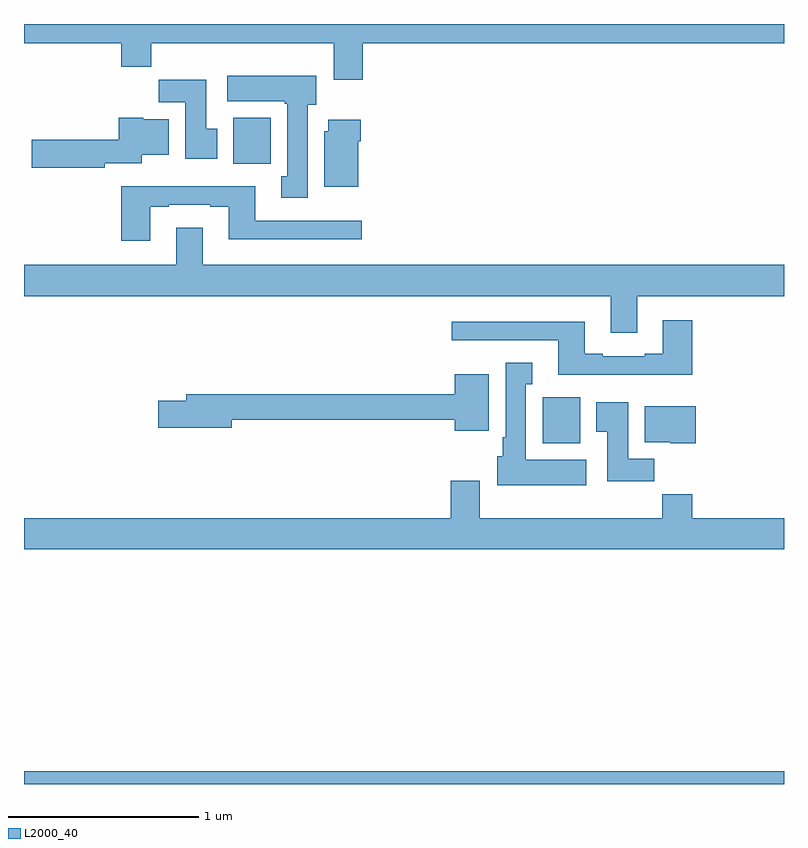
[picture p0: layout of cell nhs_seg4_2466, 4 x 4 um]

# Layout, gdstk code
import gdstk
lib = gdstk.Library(unit=1e-6, precision=1e-09)
def R(c, l, rs):  # rectangles x0, y0, x1, y1
    for r in rs: c.add(gdstk.rectangle(r[:2], r[2:], *l))
def P(c, l, *ps):  # polygons
    for p in ps: c.add(gdstk.Polygon(p, *l))
L2000_40 = (2000, 40)

nhs_seg4_2466 = lib.new_cell('nhs_seg4_2466')
R(nhs_seg4_2466, L2000_40, [(239,812.9,243,812.968), (241.73,814.694,241.927,814.936), (240.101,816.164,240.298,816.406)])
P(nhs_seg4_2466, L2000_40, [(240.782,816.8),(243,816.8),(243,816.9),(239,816.9),(239,816.8),(239.513,816.8),(239.513,816.676),(239.669,816.676),(239.669,816.8),(240.629,816.8),(240.629,816.606),(240.782,816.606)],
  [(240.493,816.474),(240.538,816.474),(240.538,816.628),(240.069,816.628),(240.069,816.494),(240.373,816.494),(240.373,816.481),(240.386,816.481),(240.386,816.098),(240.353,816.098),(240.353,815.985),(240.493,815.985)],
  [(240.016,816.348),(239.959,816.348),(239.959,816.607),(239.71,816.607),(239.71,816.488),(239.849,816.488),(239.849,816.192),(240.016,816.192)],
  [(239.424,816.167),(239.62,816.167),(239.62,816.212),(239.761,816.212),(239.761,816.4),(239.628,816.4),(239.628,816.406),(239.498,816.406),(239.498,816.29),(239.04,816.29),(239.04,816.143),(239.424,816.143)],
  [(240.76,816.284),(240.773,816.284),(240.773,816.397),(240.602,816.397),(240.602,816.336),(240.581,816.336),(240.581,816.044),(240.76,816.044)],
  [(239.665,815.937),(239.761,815.937),(239.761,815.949),(239.981,815.949),(239.981,815.937),(240.077,815.937),(240.077,815.768),(240.778,815.768),(240.778,815.865),(240.217,815.865),(240.217,816.046),(239.513,816.046),(239.513,815.76),(239.665,815.76)],
  [(242.227,815.468),(243,815.468),(243,815.632),(239.941,815.632),(239.941,815.827),(239.801,815.827),(239.801,815.632),(239,815.632),(239,815.468),(242.087,815.468),(242.087,815.274),(242.227,815.274)],
  [(242.516,815.341),(242.363,815.341),(242.363,815.164),(242.267,815.164),(242.267,815.151),(242.047,815.151),(242.047,815.164),(241.951,815.164),(241.951,815.332),(241.251,815.332),(241.251,815.235),(241.811,815.235),(241.811,815.054),(242.516,815.054)],
  [(241.96,814.606),(241.642,814.606),(241.642,815.003),(241.675,815.003),(241.675,815.116),(241.535,815.116),(241.535,814.726),(241.52,814.726),(241.52,814.626),(241.49,814.626),(241.49,814.472),(241.96,814.472)],
  [(241.447,815.056),(241.268,815.056),(241.268,814.952),(239.855,814.952),(239.855,814.916),(239.706,814.916),(239.706,814.774),(240.094,814.774),(240.094,814.816),(241.268,814.816),(241.268,814.76),(241.447,814.76)],
  [(242.318,814.612),(242.179,814.612),(242.179,814.909),(242.012,814.909),(242.012,814.753),(242.069,814.753),(242.069,814.494),(242.318,814.494)],
  [(242.536,814.888),(242.267,814.888),(242.267,814.7),(242.4,814.7),(242.4,814.694),(242.536,814.694)],
  [(243,814.3),(242.516,814.3),(242.516,814.424),(242.359,814.424),(242.359,814.3),(241.399,814.3),(241.399,814.495),(241.247,814.495),(241.247,814.3),(239,814.3),(239,814.136),(243,814.136)])

lib.write_gds('nhs_seg4_2466.gds')
